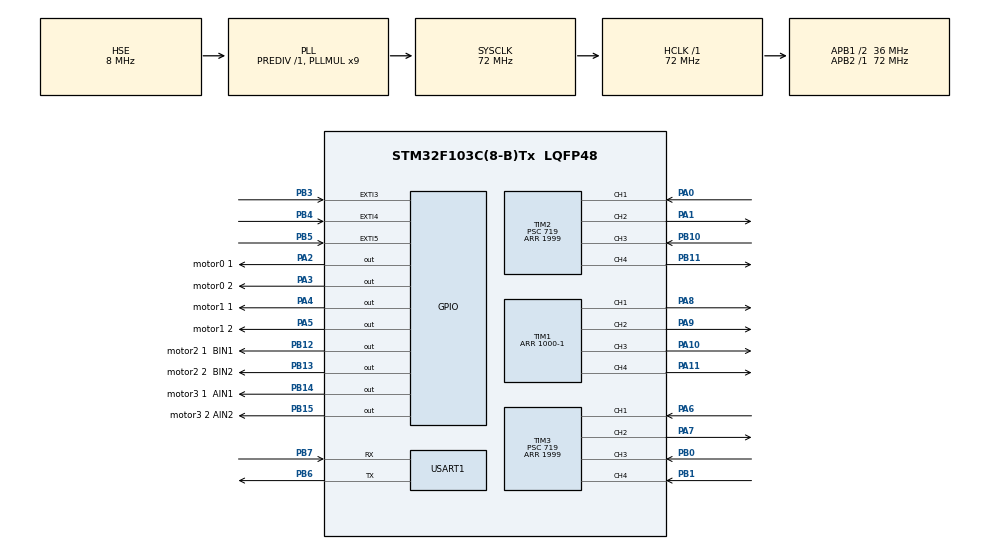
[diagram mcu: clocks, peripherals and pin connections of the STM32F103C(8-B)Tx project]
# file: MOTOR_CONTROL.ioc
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Dma.Request0=USART1_RX
Dma.USART1_RX.0.Direction=DMA_PERIPH_TO_MEMORY
Dma.USART1_RX.0.Instance=DMA1_Channel5
Dma.USART1_RX.0.MemDataAlignment=DMA_MDATAALIGN_BYTE
Dma.USART1_RX.0.MemInc=DMA_MINC_ENABLE
Dma.USART1_RX.0.Mode=DMA_CIRCULAR
Dma.USART1_RX.0.PeriphDataAlignment=DMA_PDATAALIGN_BYTE
Dma.USART1_RX.0.PeriphInc=DMA_PINC_DISABLE
Dma.USART1_RX.0.Priority=DMA_PRIORITY_LOW
Mcu.Family=STM32F1
Mcu.Name=STM32F103C(8-B)Tx
Mcu.Package=LQFP48
NVIC.DMA1_Channel5_IRQn=true\:0\:0\:false\:false\:true\:false\:true\:true
NVIC.PriorityGroup=NVIC_PRIORITYGROUP_4
NVIC.TIM2_IRQn=true\:0\:0\:false\:false\:true\:true\:true\:true
NVIC.TIM3_IRQn=true\:0\:0\:false\:false\:true\:true\:true\:true
NVIC.TIM4_IRQn=true\:0\:0\:false\:false\:true\:true\:true\:true
NVIC.USART1_IRQn=true\:0\:0\:false\:false\:true\:true\:true\:true
PA0-WKUP.GPIO_PuPd=GPIO_PULLDOWN
PA0-WKUP.Signal=S_TIM2_CH1_ETR
PA1.GPIO_PuPd=GPIO_PULLDOWN
PA1.Signal=S_TIM2_CH2
PA10.GPIO_Speed=GPIO_SPEED_FREQ_LOW
PA10.Signal=S_TIM1_CH3
PA11.GPIO_ModeDefaultPP=GPIO_MODE_AF_PP
PA11.Signal=S_TIM1_CH4
PA13.Mode=Serial_Wire
PA13.Signal=SYS_JTMS-SWDIO
PA14.Mode=Serial_Wire
PA14.Signal=SYS_JTCK-SWCLK
PA2.GPIO_Label=motor0 1
PA2.GPIO_PuPd=GPIO_PULLUP
PA2.Signal=GPIO_Output
PA3.GPIO_Label=motor0 2
PA3.GPIO_PuPd=GPIO_PULLUP
PA3.Signal=GPIO_Output
PA4.GPIO_Label=motor1 1
PA4.GPIO_PuPd=GPIO_PULLUP
PA4.Signal=GPIO_Output
PA5.GPIO_Label=motor1 2
PA5.GPIO_PuPd=GPIO_PULLUP
PA5.Signal=GPIO_Output
PA6.GPIO_PuPd=GPIO_PULLDOWN
PA6.Signal=S_TIM3_CH1
PA7.GPIO_PuPd=GPIO_PULLDOWN
PA7.Signal=S_TIM3_CH2
PA8.GPIO_Speed=GPIO_SPEED_FREQ_LOW
PA8.Signal=S_TIM1_CH1
PA9.GPIO_Speed=GPIO_SPEED_FREQ_LOW
PA9.Signal=S_TIM1_CH2
PB0.GPIO_PuPd=GPIO_PULLDOWN
PB0.Signal=S_TIM3_CH3
PB1.GPIO_PuPd=GPIO_PULLDOWN
PB1.Signal=S_TIM3_CH4
PB10.GPIO_PuPd=GPIO_PULLDOWN
PB10.Signal=S_TIM2_CH3
PB11.GPIO_PuPd=GPIO_PULLDOWN
PB11.Signal=S_TIM2_CH4
PB12.GPIO_Label=motor2 1  BIN1
PB12.GPIO_PuPd=GPIO_PULLUP
PB12.Signal=GPIO_Output
PB13.GPIO_Label=motor2 2  BIN2
PB13.GPIO_PuPd=GPIO_PULLUP
PB13.Signal=GPIO_Output
PB14.GPIO_Label=motor3 1  AIN1
PB14.GPIO_PuPd=GPIO_PULLUP
PB14.Signal=GPIO_Output
PB15.GPIO_Label=motor3 2 AIN2
PB15.GPIO_PuPd=GPIO_PULLUP
PB15.Signal=GPIO_Output
PB3.GPIO_PuPd=GPIO_PULLUP
PB3.Signal=GPXTI3
PB4.GPIO_PuPd=GPIO_PULLUP
PB4.Signal=GPXTI4
PB5.GPIO_PuPd=GPIO_PULLUP
PB5.Signal=GPXTI5
PB6.Mode=Asynchronous
PB6.Signal=USART1_TX
PB7.Mode=Asynchronous
PB7.Signal=USART1_RX
PD0-OSC_IN.Mode=HSE-External-Oscillator
PD0-OSC_IN.Signal=RCC_OSC_IN
PD1-OSC_OUT.Mode=HSE-External-Oscillator
PD1-OSC_OUT.Signal=RCC_OSC_OUT
ProjectManager.HeapSize=0x200
ProjectManager.StackSize=0x400
ProjectManager.TargetToolchain=MDK-ARM V5.32
RCC.AHBFreq_Value=72000000
RCC.APB1CLKDivider=RCC_HCLK_DIV2
RCC.APB1Freq_Value=36000000
RCC.APB1TimFreq_Value=72000000
RCC.APB2Freq_Value=72000000
RCC.APB2TimFreq_Value=72000000
RCC.HCLKFreq_Value=72000000
RCC.PLLMUL=RCC_PLL_MUL9
RCC.PLLSourceVirtual=RCC_PLLSOURCE_HSE
RCC.SYSCLKFreq_VALUE=72000000
RCC.SYSCLKSource=RCC_SYSCLKSOURCE_PLLCLK
RCC.USBFreq_Value=72000000
SH.S_TIM1_CH1.0=TIM1_CH1,PWM Generation1 CH1
SH.S_TIM1_CH2.0=TIM1_CH2,PWM Generation2 CH2
SH.S_TIM1_CH3.0=TIM1_CH3,PWM Generation3 CH3
SH.S_TIM1_CH4.0=TIM1_CH4,PWM Generation4 CH4
SH.S_TIM2_CH1_ETR.0=TIM2_CH1,Input_Capture1_from_TI1
SH.S_TIM2_CH2.0=TIM2_CH2,PWM Generation2 CH2
SH.S_TIM2_CH3.0=TIM2_CH3,Input_Capture3_from_TI3
SH.S_TIM2_CH4.0=TIM2_CH4,PWM Generation4 CH4
SH.S_TIM3_CH1.0=TIM3_CH1,Input_Capture1_from_TI1
SH.S_TIM3_CH2.0=TIM3_CH2,PWM Generation2 CH2
SH.S_TIM3_CH3.0=TIM3_CH3,Input_Capture3_from_TI3
SH.S_TIM3_CH4.0=TIM3_CH4,Input_Capture4_from_TI4
TIM1.Channel-PWM\ Generation1\ CH1=TIM_CHANNEL_1
TIM1.Channel-PWM\ Generation2\ CH2=TIM_CHANNEL_2
TIM1.Channel-PWM\ Generation3\ CH3=TIM_CHANNEL_3
TIM1.Channel-PWM\ Generation4\ CH4=TIM_CHANNEL_4
TIM1.Period=1000-1
TIM2.AutoReloadPreload=TIM_AUTORELOAD_PRELOAD_ENABLE
TIM2.Channel-Input_Capture1_from_TI1=TIM_CHANNEL_1
TIM2.Channel-Input_Capture3_from_TI3=TIM_CHANNEL_3
TIM2.Channel-PWM\ Generation2\ CH2=TIM_CHANNEL_2
TIM2.Channel-PWM\ Generation4\ CH4=TIM_CHANNEL_4
TIM2.Period=1999
TIM2.Prescaler=719
TIM2.Pulse-PWM\ Generation2\ CH2=50
TIM2.Pulse-PWM\ Generation4\ CH4=50
TIM3.AutoReloadPreload=TIM_AUTORELOAD_PRELOAD_ENABLE
TIM3.Channel-Input_Capture1_from_TI1=TIM_CHANNEL_1
TIM3.Channel-Input_Capture3_from_TI3=TIM_CHANNEL_3
TIM3.Channel-Input_Capture4_from_TI4=TIM_CHANNEL_4
TIM3.Channel-PWM\ Generation2\ CH2=TIM_CHANNEL_2
TIM3.Period=1999
TIM3.Prescaler=719
TIM3.Pulse-PWM\ Generation2\ CH2=50
TIM4.Period=10000
TIM4.Prescaler=71
USART1.VirtualMode=VM_ASYNC
VP_TIM1_VS_ClockSourceINT.Mode=Internal
VP_TIM2_VS_ClockSourceINT.Mode=Internal
VP_TIM3_VS_ClockSourceINT.Mode=Internal
VP_TIM4_VS_ClockSourceINT.Mode=Internal
board=custom

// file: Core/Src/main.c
/* USER CODE BEGIN Header */
/**
  ******************************************************************************
  * @file           : main.c
  * @brief          : Main program body
  ******************************************************************************
  * @attention
  *
  * Copyright (c) 2023 STMicroelectronics.
  * All rights reserved.
  *
  * This software is licensed under terms that can be found in the LICENSE file
  * in the root directory of this software component.
  * If no LICENSE file comes with this software, it is provided AS-IS.
  *
  ******************************************************************************
  */
/* USER CODE END Header */
#include "main.h"
#include "dma.h"
#include "tim.h"
#include "usart.h"
#include "gpio.h"

/* USER CODE BEGIN Includes */
#include "bsp_pid.h"
#include "motor_control.h"
#include "bsp_Mecanum.h"
#include "io_retargetToUart.h"
#include "stdio.h"
#include "servo.h"
#include "math.h"
/* USER CODE END Includes */

void SystemClock_Config(void);

/* USER CODE BEGIN 0 */

uint16_t cnt[4]={0,0,0,0};  //to mark the capture value
uint8_t Rx_Buffer[18]={0};
uint16_t flag[6]={0};
float servo_mode=0;
typedef union
{
    float data;
    uint8_t byte[4];
}byte_to_float;

 byte_to_float data_2;

/* USER CODE END 0 */

int main(void)
{

  /* MCU Configuration--------------------------------------------------------*/

  /* Reset of all peripherals, Initializes the Flash interface and the Systick. */
  HAL_Init();

  /* Configure the system clock */
  SystemClock_Config();

  /* Initialize all configured peripherals */
  MX_GPIO_Init();
  MX_DMA_Init();
  MX_TIM1_Init();
  MX_TIM2_Init();
  MX_TIM3_Init();
  MX_USART1_UART_Init();
  MX_TIM4_Init();
  /* USER CODE BEGIN 2 */
	motor_init(0);
	motor_init(1);
	motor_init(2);
	motor_init(3);
  motor_start(0);
	motor_start(1);
	motor_start(2);
	motor_start(3);

	__HAL_UART_ENABLE_IT(&huart1,UART_IT_RXNE);
	HAL_UART_Receive_IT(&huart1,Rx_Buffer,18);

	HAL_TIM_Base_Start(&htim2);
	HAL_TIM_Base_Start(&htim3);
	HAL_TIM_Base_Start_IT(&htim4);

	HAL_TIM_PWM_Start(&htim2,TIM_CHANNEL_4);
	HAL_TIM_PWM_Start(&htim2,TIM_CHANNEL_2);
	HAL_TIM_PWM_Start(&htim3,TIM_CHANNEL_2);

	__HAL_TIM_SetCompare(&htim3,TIM_CHANNEL_2,50);
	__HAL_TIM_SetCompare(&htim2,TIM_CHANNEL_2,50);
	__HAL_TIM_SetCompare(&htim2,TIM_CHANNEL_4,50);

	//flag[5]=1;

  /* USER CODE END 2 */

  /* Infinite loop */
  while (1)
  {

    /* USER CODE BEGIN 3 */

		if(flag[5]==1)
		{
		     //HAL_GPIO_TogglePin(GPIOC,GPIO_PIN_13);

					data_2.byte[0]=Rx_Buffer[1];
					data_2.byte[1]=Rx_Buffer[2];
					data_2.byte[2]=Rx_Buffer[3];
					data_2.byte[3]=Rx_Buffer[4];
			   if(fabs(data_2.data)<0.05)  data_2.data=0;
					car_speed[0]=data_2.data*300;  //x

					data_2.byte[0]=Rx_Buffer[5];
					data_2.byte[1]=Rx_Buffer[6];
					data_2.byte[2]=Rx_Buffer[7];
					data_2.byte[3]=Rx_Buffer[8];
			   if(fabs(data_2.data)<0.05)  data_2.data=0;
					car_speed[1]=-data_2.data*00;  //y

					data_2.byte[0]=Rx_Buffer[9];
					data_2.byte[1]=Rx_Buffer[10];
					data_2.byte[2]=Rx_Buffer[11];
					data_2.byte[3]=Rx_Buffer[12];
					car_speed[2]=-data_2.data/2;  //w

			    data_2.byte[0]=Rx_Buffer[13];
					data_2.byte[1]=Rx_Buffer[14];
					data_2.byte[2]=Rx_Buffer[15];
					data_2.byte[3]=Rx_Buffer[16];
					servo_mode=data_2.data;

					flag[5]=0;

					//printf("%2f,%2f,%2f,%2f\n",car_speed [0],car_speed [1],car_speed [2],servo_mode);

					cal_motor_speed(cal_matrix,motor_w,car_speed,MOTOR_R);

					for(uint16_t i=0;i<4;i++)
					{
							if(motor_w[i]>0)
									set_motor_direction(&motor[i],0);
							else
							{
									motor_w[i]=-motor_w[i];
									set_motor_direction(&motor[i],1);
							}
					}
					set_pid_target(&motor[0].motor_pid,motor_w[0]);   //set the speed as target; should be placed in "while" when ps2 is added
					set_pid_target(&motor[1].motor_pid,motor_w[1]);
					set_pid_target(&motor[2].motor_pid,motor_w[2]);
					set_pid_target(&motor[3].motor_pid,motor_w[3]);

		       /***********************SERVO CONTROL*********************************************/
		                if(servo_mode==1)//
                    {
                        //printf("A\n");
                        Servo_SetAngle(0,56.0);//adjust
                        Servo_SetAngle(1,180);
                        Servo_SetAngle(2,180); //open
                        HAL_Delay(1500);
                        Servo_SetAngle(2,0);//GRAB
                    }
										if(servo_mode==2)//??
                    {
                        //printf("B\n");
                        Servo_SetAngle(0,88);
                        Servo_SetAngle(1,0);
                        HAL_Delay(900);
                        Servo_SetAngle(2,180);//STORE

                        HAL_Delay(900);
                        Servo_SetAngle(0,56);//^_^
                        Servo_SetAngle(1,180);
                        HAL_Delay(1000);
                        Servo_SetAngle(2,10);//GRAB
                    }
                    if(servo_mode==3)//??
                    {
                        //printf("C\n");
                        Servo_SetAngle(0,88);
                        Servo_SetAngle(1,90);
                    }
                    if(servo_mode==4)//??
                    {
                       // printf("D\n");
                        Servo_SetAngle(1,110);
                        Servo_SetAngle(2,180);//shoot
                    }
										if(servo_mode==5)//??
                    {
                       // printf("E\n");
                        Servo_SetAngle(0,88);
                        Servo_SetAngle(1,5);
                        HAL_Delay(1000);
                        Servo_SetAngle(2,0);//grab

                        HAL_Delay(1500);
                        Servo_SetAngle(1,110);
                        HAL_Delay(800);
                        Servo_SetAngle(2,180);//shoot
                    }

										servo_mode=0;
						 /***********************SERVO CONTROL*********************************************/
			}
	   if(flag[0])
	   {
	    	__HAL_TIM_SET_CAPTUREPOLARITY(EncoderHandle[0], EncoderChannel[0][0], TIM_INPUTCHANNELPOLARITY_RISING); //?is it necessary?
		   cnt[0]++;
		   HAL_TIM_IC_Start_IT(EncoderHandle[0],EncoderChannel[0][0]);
			flag[0]=0;
	   }
		  if(flag[1])
	   {
	    	__HAL_TIM_SET_CAPTUREPOLARITY(EncoderHandle[1], EncoderChannel[1][0], TIM_INPUTCHANNELPOLARITY_RISING); //?is it necessary?
		   cnt[1]++;
		   HAL_TIM_IC_Start_IT(EncoderHandle[1],EncoderChannel[1][0]);
			flag[1]=0;
	   }
			if(flag[2])
	   {
	    	__HAL_TIM_SET_CAPTUREPOLARITY(EncoderHandle[2], EncoderChannel[2][0], TIM_INPUTCHANNELPOLARITY_RISING); //?is it necessary?
		   cnt[2]++;
		   HAL_TIM_IC_Start_IT(EncoderHandle[2],EncoderChannel[2][0]);
			flag[2]=0;
	   }
		 if(flag[3])
	   {
	    	__HAL_TIM_SET_CAPTUREPOLARITY(EncoderHandle[3], EncoderChannel[3][0], TIM_INPUTCHANNELPOLARITY_RISING); //?is it necessary?
		   cnt[3]++;
		   HAL_TIM_IC_Start_IT(EncoderHandle[3],EncoderChannel[3][0]);
			flag[3]=0;
	   }
    if(flag[4])
		{
			motor_pid_control(&motor[0],0,cnt[0]);

			cnt[0]=0;
			motor_pid_control(&motor[1],1,cnt[1]);

			cnt[1]=0;
			motor_pid_control(&motor[2],2,cnt[2]);

			cnt[2]=0;
			motor_pid_control(&motor[3],3,cnt[3]);

			cnt[3]=0;
			flag[4]=0;

			//printf("%f,%f,%f,%f,%f,%f,%f,%f\n",compileactualval[0],compileactualval[1],compileactualval[2],compileactualval[3],
			//																	compileaduty[0],compileaduty[1],compileaduty[2],compileaduty[3]);
		}
	}
  /* USER CODE END 3 */
}

void SystemClock_Config(void)
{
  RCC_OscInitTypeDef RCC_OscInitStruct = {0};
  RCC_ClkInitTypeDef RCC_ClkInitStruct = {0};

  /** Initializes the RCC Oscillators according to the specified parameters
  * in the RCC_OscInitTypeDef structure.
  */
  RCC_OscInitStruct.OscillatorType = RCC_OSCILLATORTYPE_HSE;
  RCC_OscInitStruct.HSEState = RCC_HSE_ON;
  RCC_OscInitStruct.HSEPredivValue = RCC_HSE_PREDIV_DIV1;
  RCC_OscInitStruct.HSIState = RCC_HSI_ON;
  RCC_OscInitStruct.PLL.PLLState = RCC_PLL_ON;
  RCC_OscInitStruct.PLL.PLLSource = RCC_PLLSOURCE_HSE;
  RCC_OscInitStruct.PLL.PLLMUL = RCC_PLL_MUL9;
  if (HAL_RCC_OscConfig(&RCC_OscInitStruct) != HAL_OK)
  {
    Error_Handler();
  }

  /** Initializes the CPU, AHB and APB buses clocks
  */
  RCC_ClkInitStruct.ClockType = RCC_CLOCKTYPE_HCLK|RCC_CLOCKTYPE_SYSCLK
                              |RCC_CLOCKTYPE_PCLK1|RCC_CLOCKTYPE_PCLK2;
  RCC_ClkInitStruct.SYSCLKSource = RCC_SYSCLKSOURCE_PLLCLK;
  RCC_ClkInitStruct.AHBCLKDivider = RCC_SYSCLK_DIV1;
  RCC_ClkInitStruct.APB1CLKDivider = RCC_HCLK_DIV2;
  RCC_ClkInitStruct.APB2CLKDivider = RCC_HCLK_DIV1;

  if (HAL_RCC_ClockConfig(&RCC_ClkInitStruct, FLASH_LATENCY_2) != HAL_OK)
  {
    Error_Handler();
  }
}

/* USER CODE BEGIN 4 */
void HAL_UART_RxCpltCallback(UART_HandleTypeDef *huart)
{
	if(huart->Instance==USART1)
	{
		if(Rx_Buffer[0]==0xff&&Rx_Buffer[17]==0xfe)
    {
			flag[5]=1;
			HAL_UART_Receive_IT(&huart1,Rx_Buffer,18);
		}
	}
}
void HAL_TIM_IC_CaptureCallback(TIM_HandleTypeDef *htim)  //inputcapture:collect the data of the difference of time
{
	if(htim->Instance==TIM2&&htim->Channel==HAL_TIM_ACTIVE_CHANNEL_1)
	{
		flag[0]=1;
	}
	if(htim->Instance==TIM2&&htim->Channel==HAL_TIM_ACTIVE_CHANNEL_3)
	{
		flag[1]=1;
	}
	if(htim->Instance==TIM3&&htim->Channel==HAL_TIM_ACTIVE_CHANNEL_1)
	{
		flag[2]=1;
	}
	if(htim->Instance==TIM3&&htim->Channel==HAL_TIM_ACTIVE_CHANNEL_3)
	{
		flag[3]=1;
	}

}
void HAL_TIM_PeriodElapsedCallback(TIM_HandleTypeDef *htim)
{
		if(htim->Instance==TIM4) //10ms
		{
			flag[4]=1;
			HAL_TIM_Base_Start_IT(&htim4);
		}
}

/* USER CODE END 4 */

void Error_Handler(void)
{
  __disable_irq();
  while (1)
  {
  }
}
